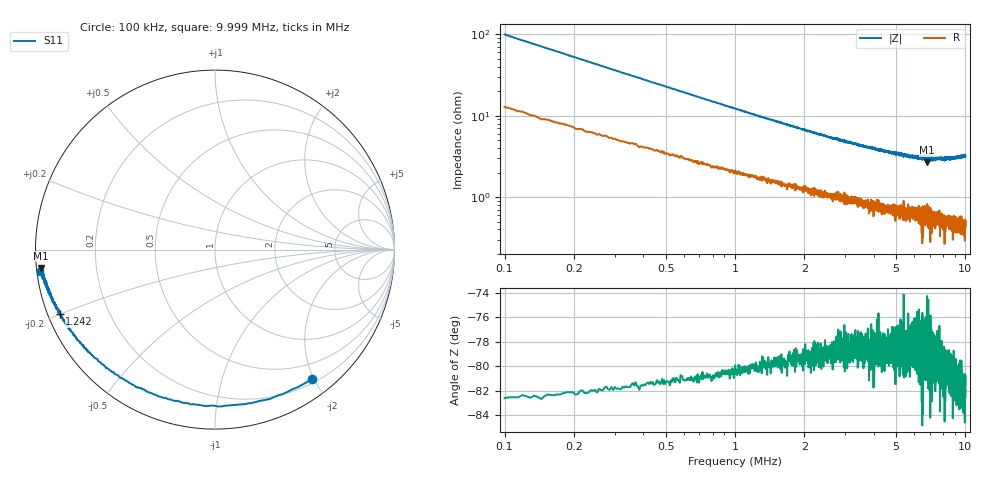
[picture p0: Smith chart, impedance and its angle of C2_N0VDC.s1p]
# HZ S RI R 50
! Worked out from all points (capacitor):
!   2020 points, 100 kHz to 9.999 MHz, reference 50 ohm
!   read as one part to ground: C = 15.1 nF near 149 kHz
!   lowest |Z| = 2.67 ohm at 6.832 MHz (marker M1)
!   S11 on the Smith chart (normalised r, x): 100 kHz: 0.26, -1.98; 1.242 MHz: 0.03, -0.20; 9.999 MHz: 0.01, -0.06
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100000  0.5429 -0.7202
114709  0.4572 -0.7681
134321  0.3533 -0.8118
163739  0.206 -0.854
188254  0.0957 -0.8667
232381  -0.0722 -0.8687
276508  -0.209 -0.8426
315732  -0.307 -0.8199
359859  -0.3956 -0.7795
403986  -0.4692 -0.7462
457919  -0.5393 -0.7007
526561  -0.6114 -0.651
595203  -0.6675 -0.6049
668748  -0.709 -0.563
761905  -0.7536 -0.5172
982540  -0.8189 -0.4278
1242399  -0.8654 -0.3602
1340459  -0.8731 -0.3405
1850371  -0.9138 -0.2614
2576015  -0.9386 -0.2048
3056509  -0.9428 -0.1792
3816474  -0.9627 -0.1568
5052030  -0.963 -0.1267
6287586  -0.9716 -0.1165
6831819  -0.972 -0.1017
7528045  -0.9748 -0.1167
8763601  -0.9719 -0.117
9999157  -0.974 -0.1226
